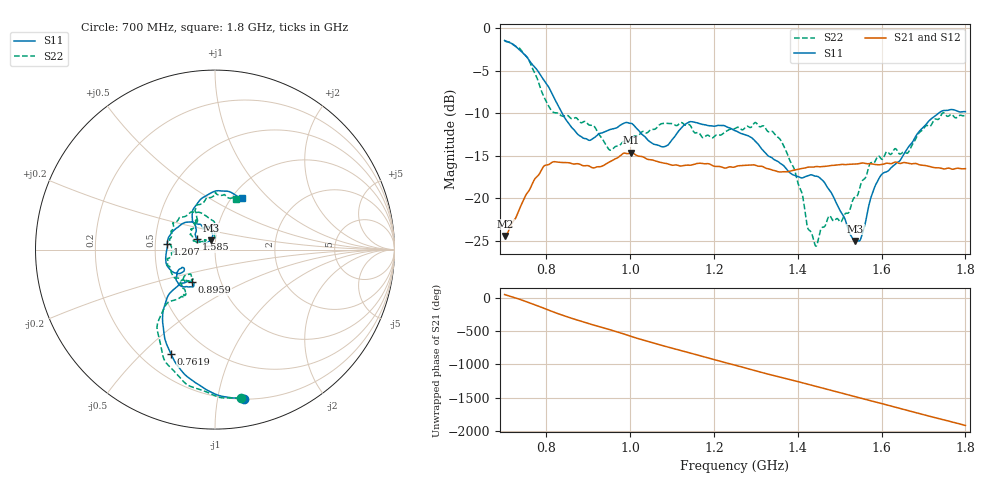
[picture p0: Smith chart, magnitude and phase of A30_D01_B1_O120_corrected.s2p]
! Created with skrf 1.9.0 (http://scikit-rf.org).
# Hz S RI R 50.0
!freq ReS11 ImS11 ReS21 ImS21 ReS12 ImS12 ReS22 ImS22
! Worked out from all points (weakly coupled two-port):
!   1601 points, 700 MHz to 1.8 GHz, reference 50 ohm
!   highest |S21| = -14.63 dB at 1.002 GHz (marker M1); lowest = -24.4 dB at 701.4 MHz (marker M2)
!   lowest |S11| = -25.0 dB at 1.537 GHz (marker M3), VSWR 1.12, Z = 47.5 + j4.9 ohm
!   |S11| at or under -10 dB: 837.5 MHz to 1.736 GHz (898 MHz wide, 69.8 % of centre)
!   |S22| runs from -25.6 to -1.5 dB; largest |S21 - S12| = 0.0037
!   S11 on the Smith chart (normalised r, x): 700 MHz: 0.20, -1.19; 761.9 MHz: 0.32, -0.62; 895.9 MHz: 0.73, -0.28; 1.207 GHz: 0.58, +0.04; 1.585 GHz: 0.81, +0.10; 1.8 GHz: 1.12, +0.71
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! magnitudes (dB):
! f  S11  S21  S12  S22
! 700 MHz  -1.4  -24.4  -24.2  -1.5
! 701.4 MHz  -1.5  -24.4  -24.0  -1.5
! 761.9 MHz  -4.0  -18.8  -18.7  -4.2
! 812.1 MHz  -7.6  -15.8  -15.8  -9.7
! 883.6 MHz  -12.8  -16.1  -16.0  -11.1
! 895.9 MHz  -13.0  -16.1  -16.2  -11.1
! 951.6 MHz  -11.9  -15.7  -15.7  -14.3
! 1.002 GHz  -11.2  -14.6  -14.7  -13.0
! 1.067 GHz  -13.8  -15.7  -15.6  -11.5
! 1.141 GHz  -11.0  -16.1  -16.1  -11.3
! 1.207 GHz  -11.4  -16.2  -16.3  -12.5
! 1.25 GHz  -12.0  -16.3  -16.2  -11.8
! 1.358 GHz  -15.9  -16.9  -16.9  -13.1
! 1.392 GHz  -17.3  -16.7  -16.7  -16.7
! 1.434 GHz  -17.2  -16.3  -16.3  -24.2
! 1.445 GHz  -17.4  -16.3  -16.3  -25.6
! 1.537 GHz  -25.0  -16.0  -16.0  -19.8
! 1.585 GHz  -18.5  -16.0  -16.0  -15.6
! 1.617 GHz  -16.7  -15.9  -15.9  -14.7
! 1.662 GHz  -14.1  -15.8  -15.9  -14.7
! 1.736 GHz  -10.0  -16.4  -16.5  -10.7
! 1.8 GHz  -9.8  -16.5  -16.5  -10.2
